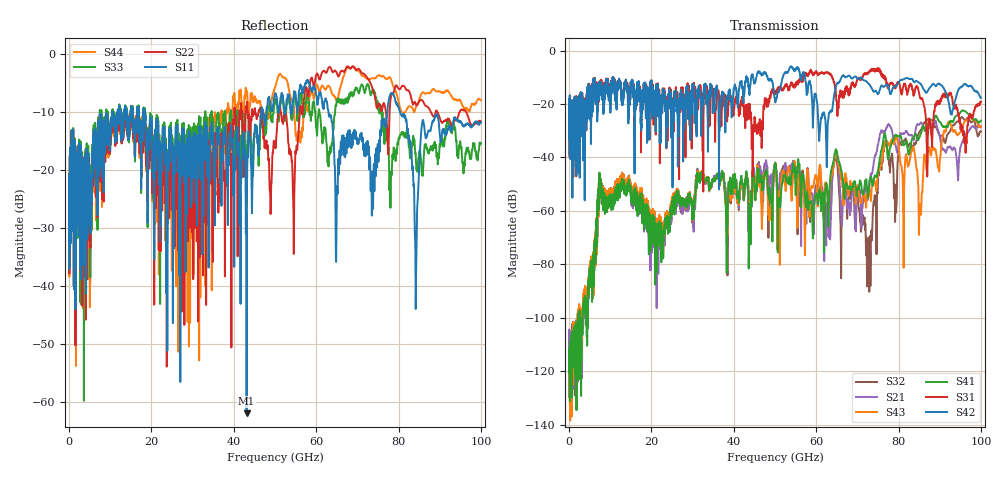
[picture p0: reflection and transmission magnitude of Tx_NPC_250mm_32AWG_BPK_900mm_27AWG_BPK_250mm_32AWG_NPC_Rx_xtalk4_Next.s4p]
! Info: Touchstone file created by Circ.  Input file=Tx_NPC_250mm_32AWG_BPK_900mm_27AWG_BPK_250mm_32AWG_NPC_Rx.circ
# Hz S RI R 50
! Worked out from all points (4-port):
!   10000 points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, 10 MHz to 100 GHz, reference 50 ohm
!   strongest paths, dB at 10 MHz, 25.01 GHz, 50.01 GHz, 75.01 GHz, 100 GHz:
!     S42: -27.5, -19.4, -18.3, -16.3, -17.6
!     S31: -27.5, -17.9, -15.4, -6.9, -19.2
!     S41: -111.8, -56.4, -42.3, -45.6, -26.2
!     S43: -114.9, -54.7, -42.3, -45.2, -28.6
!     S21: -111.2, -57.1, -42.0, -35.4, -28.6
!     S32: -117.5, -55.3, -42.6, -47.5, -30.2
!   lowest |S11| = -62.0 dB at 43.11 GHz (marker M1), VSWR 1.00, Z = 50 + j0.0633 ohm
!   |S11| at or under -10 dB: 18.46 GHz to 46.67 GHz (28.21 GHz wide, 86.6 % of centre); 63 GHz to 77.29 GHz (14.3 GHz wide, 20.4 % of centre); 80.37 GHz to end of sweep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
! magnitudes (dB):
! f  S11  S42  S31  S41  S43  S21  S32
! 10 MHz  -23.5  -27.5  -27.5  -111.8  -114.9  -111.2  -117.5
! 43.11 GHz  -62.0  -9.9  -23.8  -45.8  -46.5  -46.4  -46.2
! 64.71 GHz  -27.7  -14.0  -14.3  -37.2  -38.3  -38.8  -39.7
! 72.77 GHz  -15.9  -12.4  -8.2  -52.3  -52.7  -52.1  -70.8
! 76.75 GHz  -12.1  -13.2  -11.0  -31.3  -34.4  -29.9  -35.3
! 85.33 GHz  -15.2  -12.4  -18.0  -31.5  -61.5  -27.0  -29.9
! 100 GHz  -11.7  -17.6  -19.2  -26.2  -28.6  -28.6  -30.2
